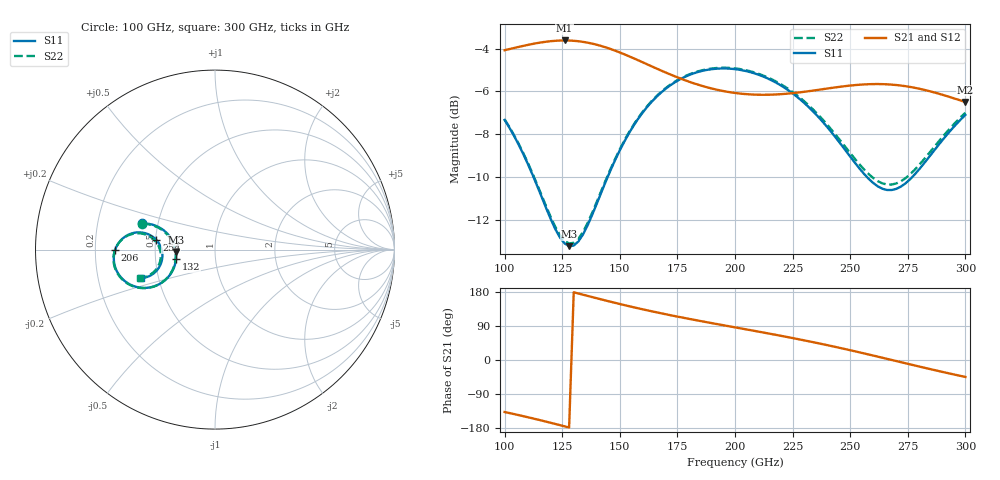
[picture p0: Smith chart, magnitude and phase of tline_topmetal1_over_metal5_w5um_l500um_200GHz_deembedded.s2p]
! Created with skrf 2.2.0 (http://scikit-rf.org).
# GHz S DB R 50.0
! Port[1] = P1
! Port[2] = P2
!freq dBS11 angS11 dBS21 angS21 dBS12 angS12 dBS22 angS22
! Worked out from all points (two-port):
!   101 points, 100 GHz to 300 GHz, reference 50 ohm
!   highest |S21| = -3.62 dB at 126 GHz (marker M1); lowest = -6.5 dB at 300 GHz (marker M2)
!   |S21| within 3 dB of the highest: start of sweep to end of sweep
!   lowest |S11| = -13.2 dB at 128 GHz (marker M3), VSWR 1.56, Z = 32.1 - j0.858 ohm
!   |S11| at or under -10 dB: 112.5 GHz to 144.8 GHz (32.24 GHz wide, 25.1 % of centre); 257.2 GHz to 277 GHz (19.74 GHz wide, 7.39 % of centre)
!   |S22| runs from -13.1 to -4.9 dB; largest |S21 - S12| = 7.3e-14
!   S11 on the Smith chart (normalised r, x): 100 GHz: 0.41, +0.15; 132 GHz: 0.64, -0.07; 206 GHz: 0.28, -0.00; 254 GHz: 0.51, +0.06; 300 GHz: 0.40, -0.16
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100  -7.34 160.2  -4.08 -137.3  -4.08 -137.3  -7.31 160.6
112  -9.87 158.7  -3.79 -153.8  -3.79 -153.8  -9.81 159.3
122  -12.44 169.2  -3.64 -168.8  -3.64 -168.8  -12.33 169.8
126  -13.11 178.2  -3.62 -175.0  -3.62 -175.0  -12.98 178.6
128  -13.24 -176.7  -3.63 -178.2  -3.63 -178.2  -13.11 -176.3
132  -13.02 -166.3  -3.66 175.5  -3.66 175.5  -12.90 -166.2
134  -12.69 -161.7  -3.69 172.4  -3.69 172.4  -12.58 -161.7
142  -10.72 -150.4  -3.88 159.9  -3.88 159.9  -10.64 -150.5
152  -8.34 -148.5  -4.27 144.9  -4.27 144.9  -8.29 -148.5
160  -6.98 -151.5  -4.65 133.7  -4.65 133.7  -6.95 -151.4
168  -6.05 -156.0  -5.03 123.2  -5.03 123.2  -6.02 -155.9
184  -5.09 -166.2  -5.69 104.0  -5.69 104.0  -5.07 -165.9
200  -4.96 -176.1  -6.08 86.2  -6.08 86.2  -4.93 -175.7
206  -5.09 -179.6  -6.14 79.5  -6.14 79.5  -5.05 -179.1
222  -5.87 172.1  -6.12 61.4  -6.12 61.4  -5.81 172.7
234  -6.95 167.7  -5.96 46.9  -5.96 46.9  -6.86 168.5
244  -8.20 166.9  -5.81 34.0  -5.81 34.0  -8.07 167.8
254  -9.60 170.7  -5.69 20.2  -5.69 20.2  -9.41 171.5
262  -10.44 178.2  -5.66 8.8  -5.66 8.8  -10.20 178.7
268  -10.61 -174.3  -5.69 0.1  -5.69 0.1  -10.36 -174.2
282  -9.37 -160.7  -5.93 -20.1  -5.93 -20.1  -9.18 -161.3
300  -7.10 -158.9  -6.50 -44.7  -6.50 -44.7  -7.00 -159.5
